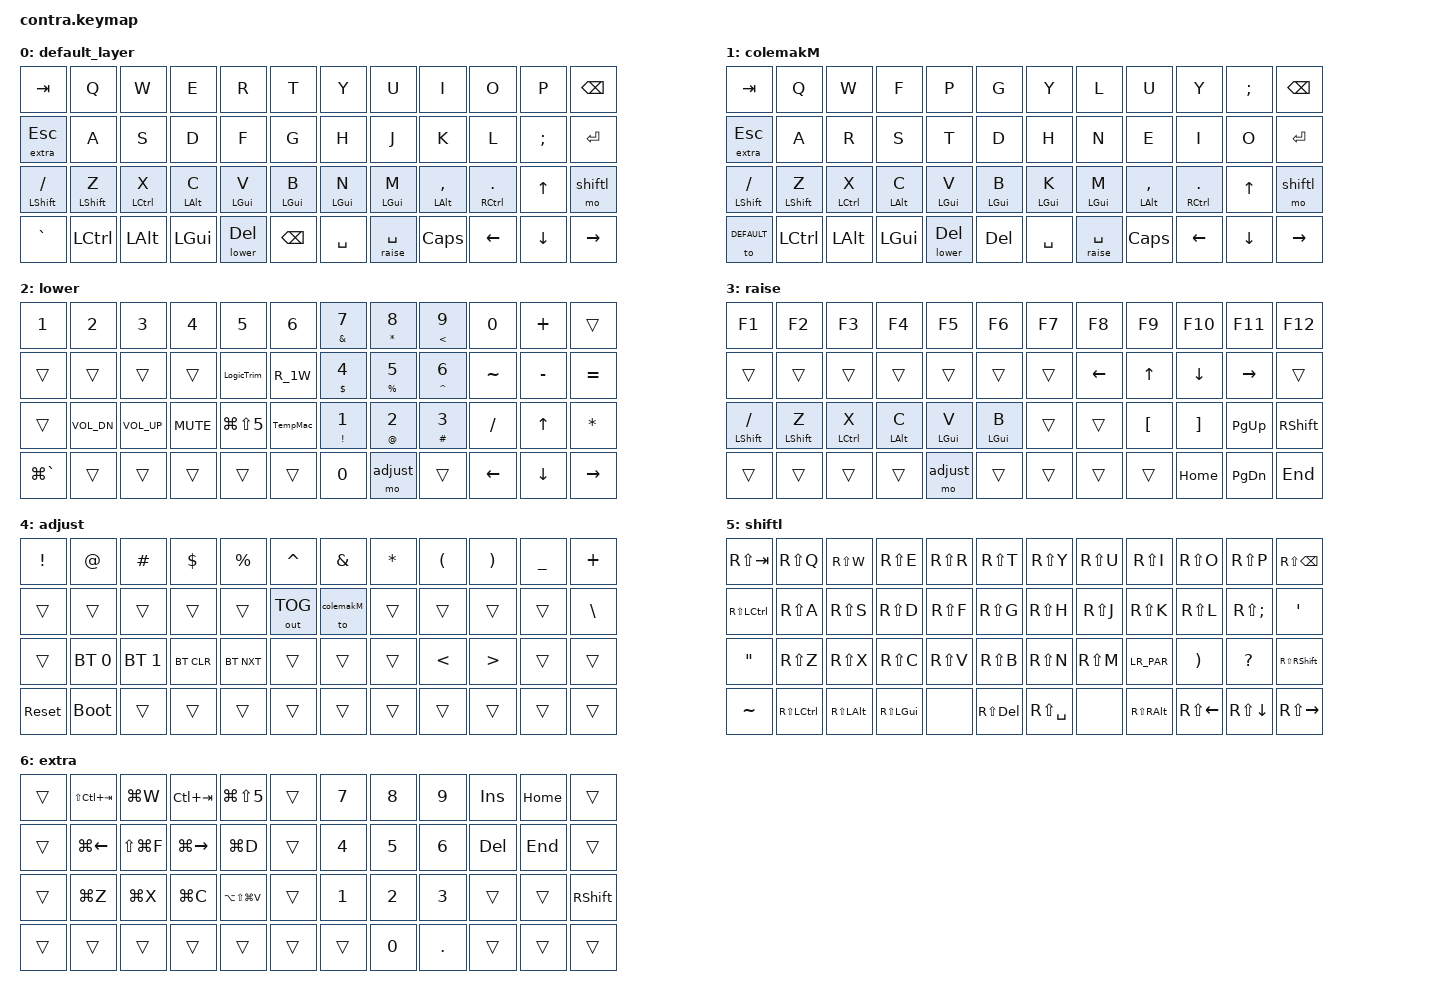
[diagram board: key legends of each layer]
/*
 * Copyright (c) 2020 The ZMK Contributors
 *
 * SPDX-License-Identifier: MIT
 */
//west build -p -b nice_nano -- -DSHIELD=contra
//west build -p -b nice_nano -- -DSHIELD=contra -DZMK_CONFIG="/workspaces/zmk/build"

#include <behaviors.dtsi>
#include <dt-bindings/zmk/keys.h>
#include <dt-bindings/zmk/bt.h>
#include <dt-bindings/zmk/outputs.h>

/ {
    macros {
        R_1W: R_1W {
            label = "R_1W";
            compatible = "zmk,behavior-macro";
            #binding-cells = <0>;
            wait-ms = <40>;
            tap-ms = <40>;
            bindings
                = <&macro_press &kp LSHFT>
                , <&macro_tap &kp S>
                , <&macro_release &kp LSHFT>
                , <&macro_tap &kp H &kp A &kp W &kp U &kp A &kp J &kp Y &kp D &kp S &kp N>
                ;
        };
		TempMac: TempMac {
            label = "TempMac";
            compatible = "zmk,behavior-macro";
            #binding-cells = <0>;
            wait-ms = <30>;
            tap-ms = <30>;
            bindings
                = <&macro_tap  &kp TAB &kp TAB &kp TAB &kp TAB &kp TAB &kp TAB &kp TAB &kp TAB &kp SPACE>
				, <&macro_press &kp LSHFT>
                , <&macro_tap &kp TAB &kp TAB &kp TAB &kp TAB &kp TAB &kp TAB &kp TAB &kp TAB &kp TAB &kp TAB &kp TAB &kp TAB>
                , <&macro_release &kp LSHFT>
				, <&macro_tap &kp N2 &kp TAB &kp TAB &kp TAB &kp TAB &kp N2>
                ;
        };
		FiveTabs: FiveTabs {
            label = "FiveTabs";
            compatible = "zmk,behavior-macro";
            #binding-cells = <0>;
            wait-ms = <30>;
            tap-ms = <30>;
            bindings
                = <&macro_tap  &kp TAB &kp TAB &kp TAB &kp TAB &kp TAB>
                ;
        };
		FourTabs: FourTabs {
            label = "FourTabs";
            compatible = "zmk,behavior-macro";
            #binding-cells = <0>;
            wait-ms = <30>;
            tap-ms = <30>;
            bindings
                = <&macro_tap  &kp TAB &kp TAB &kp TAB &kp TAB>
                ;
		};
        // };
		// TwtyFiftn: TwtyFiftn {
        //     label = "TwtyFiftn";
        //     compatible = "zmk,behavior-macro";
        //     #binding-cells = <0>;
        //     wait-ms = <30>;
        //     tap-ms = <30>;
        //     bindings
        //         = <&macro_tap &kp S>
		// 		, <&macro_press &kp LSHFT>
        //         , <&macro_tap &kp TAB &kp TAB &kp TAB &kp TAB &kp TAB &kp TAB &kp TAB>
		// 		, <&macro_release &kp LSHFT>
		// 		, <&macro_tap &kp N2 &kp N0>
		// 		, <&macro_tap &kp TAB &kp TAB &kp TAB &kp TAB>
		// 		, <&macro_tap &kp N1 &kp N5>
		// 		, <&macro_tap &kp TAB &kp SPACE>
        //         ;
        // };
		
		TwoTwoOne: TwoTwoOne {
            label = "TwoTwoOne";
            compatible = "zmk,behavior-macro";
            #binding-cells = <0>;
            wait-ms = <30>;
            tap-ms = <30>;
            bindings
                // = <&macro_press &kp LSHFT>
                // , <&macro_tap &kp TAB &kp TAB &kp TAB &kp TAB &kp TAB &kp TAB &kp TAB &kp TAB &kp TAB &kp TAB &kp TAB>
				// , <&macro_release &kp LSHFT>
				= <&macro_tap &kp N2>
				, <&macro_tap &kp TAB &kp TAB &kp TAB &kp TAB>
				, <&macro_tap &kp N2>
				, <&macro_tap &kp TAB &kp TAB &kp TAB &kp TAB>
				, <&macro_tap &kp N1>
				, <&macro_tap &kp TAB &kp SPACE>
				// , <&macro_wait_time 700>
				// , <&macro_tap &kp Y>
				// , <&macro_tap &kp R>
                ;
        };
		TwoTwoZero: TwoTwoZero {
            label = "TwoTwoZero";
            compatible = "zmk,behavior-macro";
            #binding-cells = <0>;
            wait-ms = <30>;
            tap-ms = <30>;
            bindings
                // = <&macro_tap &kp S>
				// , <&macro_press &kp LSHFT>
                // , <&macro_tap &kp TAB &kp TAB &kp TAB &kp TAB &kp TAB &kp TAB &kp TAB &kp TAB &kp TAB &kp TAB &kp TAB>
				// , <&macro_release &kp LSHFT>
				= <&macro_tap &kp N2>
				, <&macro_tap &kp TAB &kp TAB &kp TAB &kp TAB>
				, <&macro_tap &kp N2>
				, <&macro_tap &kp TAB &kp TAB &kp TAB &kp TAB>
				, <&macro_tap &kp N0>
				, <&macro_tap &kp TAB &kp SPACE>
				// , <&macro_wait_time 700>
				// , <&macro_tap &kp Y>
				// , <&macro_tap &kp R> 
                ;
        };
		LogicTrim: LogicTrim {
            label = "LogicTrim";
            compatible = "zmk,behavior-macro";
            #binding-cells = <0>;
            wait-ms = <30>;
            tap-ms = <30>;
            bindings
                = <&macro_press &kp LGUI>
                , <&macro_tap &kp F>
                , <&macro_release &kp LGUI>
				// , <&macro_wait_time 500>
				, <&macro_tap &kp LEFT &kp DEL>
                ;
        };
        LR_PAR: LR_PAR {
            label = "LR_PAR";
            compatible = "zmk,behavior-macro";
            #binding-cells = <0>;
            wait-ms = <40>;
            tap-ms = <40>;
            bindings
                = <&macro_press &kp LSHFT>
                , <&macro_tap &kp N9 &kp N0>
                , <&macro_release &kp LSHFT>
                , <&macro_tap &kp LEFT>
                ;
        };
    };
};


/ {
    behaviors {
        tns: tap_number_symbols {
            compatible = "zmk,behavior-hold-tap";
            label = "NUM_SYMBOLS";
            #binding-cells = <2>;
            tapping-term-ms = <250>;    // <---[[moderate duration]]
            quick-tap-ms = <0>;
            flavor = "tap-preferred";
            bindings = <&kp>, <&kp>;
        };
    };
};	

//for grading assignment with 2-2-1 grading rubric
// / {
//     macros {
//         TempMac: TempMac {
//             label = "TempMac";
//             compatible = "zmk,behavior-macro";
//             #binding-cells = <0>;
//             wait-ms = <20>;
//             tap-ms = <20>;
//             bindings
//                 = <&macro_tap  &kp TAB &kp TAB &kp TAB &kp TAB &kp TAB &kp TAB &kp TAB &kp TAB &kp SPACE>
// 				, <&macro_press &kp LSHFT>
//                 , <&macro_tap &kp TAB &kp TAB &kp TAB &kp TAB &kp TAB &kp TAB &kp TAB &kp TAB &kp TAB &kp TAB &kp TAB &kp TAB>
//                 , <&macro_release &kp LSHFT>
// 				, <&macro_tap &kp N2 &kp TAB &kp TAB &kp TAB &kp TAB &kp N2 &kp TAB &kp TAB &kp TAB &kp TAB &kp N1 &kp TAB &kp SPACE>
//                 ;
//         };
//     };
// };

//tapping time
&mt {
    tapping-term-ms = <250>;
};

//define layers
#define DEFAULT 0
#define colemakM 1
#define lower   2
#define raise   3
#define adjust 4
#define shiftl 5
#define extra   6

//cd app
//west build -p -b nice_nano -- -DSHIELD=contra

/ {
    behaviors {
        bhm: balanced_homerow_mods {
            compatible = "zmk,behavior-hold-tap";
            label = "HOMEROW_MODS";
            #binding-cells = <2>;
            tapping-term-ms = <300>;    // <---[[moderate duration]]
            quick-tap-ms = <0>;
            flavor = "balanced";
            bindings = <&kp>, <&kp>;
        };
    };
	
	
	keymap {
		compatible = "zmk,keymap";

		default_layer {
				// -----------------------------------------------------------------------------------------
				// |  TAB  |  Q   |  W   |  E   |  R   |  T   |   Y   |  U    |  I   |  O   |   P   | BSPC  |
				// |  ESC  |  A   |  S   |  D   |  F   |  G   |   H   |  J    |  K   |  L   |   ;   |  '    |
				// | SHIFT |  Z   |  X   |  C   |  V   |  B   |   N   |  M    |  ,   |  .   |   /   |  RET  |
				// | FN    | LGUI | LALT | LCTL | LOWR |     SPACE    |  RAIS | LARW | DARW | UARW  |  RARW |
			bindings = <
				&kp TAB        &kp Q    &kp W    &kp E     &kp R     &kp T     &kp Y     &kp U      &kp I     &kp O    &kp P    &kp BSPC
				&lt extra ESC  &kp A   &kp S &kp D &kp F      &kp G     &kp H     &kp J      &kp K     &kp L    &kp SEMI &kp RET
				&mt LSHFT FSLH &bhm LSHFT Z  &bhm LCTL X    &bhm LALT C     &bhm LGUI V     &bhm LGUI B     &bhm LGUI N     &bhm LGUI M      &bhm LALT COMMA &bhm RCTL DOT  &kp UP   &mo shiftl
				&kp GRAVE   &kp LCTL &kp LALT &kp LGUI  &lt lower DEL &kp BSPC   &kp SPACE &lt raise SPACE  &kp CAPS  &kp LEFT &kp DOWN &kp RIGHT
			>;

			// sensor-bindings = <&inc_dec_kp PG_UP PG_DN>;
		};
		colemakM {
		 	bindings = <
		 		&kp TAB        &kp Q    &kp W    &kp F     &kp P    &kp G     &kp Y     &kp L      &kp U     &kp Y     &kp SEMI    &kp BSPC
		 		&lt extra ESC  &kp A    &kp R    &kp S     &kp T     &kp D     &kp H     &kp N      &kp E     &kp I    &kp O &kp RET
				&mt LSHFT FSLH &bhm LSHFT Z  &bhm LCTL X    &bhm LALT C     &bhm LGUI V     &bhm LGUI B     &bhm LGUI K     &bhm LGUI M      &bhm LALT COMMA &bhm RCTL DOT  &kp UP   &mo shiftl
				&to DEFAULT    &kp LCTL &kp LALT &kp LGUI  &lt lower DEL &kp DEL   &kp SPACE &lt raise SPACE  &kp CAPS  &kp LEFT &kp DOWN &kp RIGHT
		 	>;
		 };

		lower {
			bindings = <
				&kp N1 &kp N2       &kp N3       &kp N4     &kp N5         &kp N6   &tns AMPS N7 &tns ASTRK N8 &tns LT N9    &kp N0    &kp PLUS  &trans 
				&trans &trans       &trans       &trans     &LogicTrim     &R_1W    &tns DLLR N4 &tns PRCNT N5 &tns CARET N6 &kp TILDE &kp MINUS &kp EQUAL
                &trans &kp C_VOL_DN &kp C_VOL_UP &kp K_MUTE &kp LG(LS(N5)) &TempMac &tns EXCL N1 &tns AT N2    &tns POUND N3 &kp FSLH  &kp UP    &kp ASTRK
                &kp LG(GRAVE) &trans  &trans     &trans     &trans         &trans   &kp N0 &mo adjust &trans  &kp LEFT      &kp DOWN         &kp RIGHT
			>;

			// sensor-bindings = <&inc_dec_kp C_VOL_UP C_VOL_DN>;
		};

		raise {
			bindings = <
				&kp F1 &kp F2       &kp F3       &kp F4     &kp F5     &kp F6 &kp F7 &kp F8   &kp F9   &kp F10   &kp F11   &kp F12
				&trans &trans       &trans       &trans     &trans     &trans &trans &kp LEFT &kp UP   &kp DOWN  &kp RIGHT &trans
                &mt LSHFT FSLH &bhm LSHFT Z  &bhm LCTL X    &bhm LALT C     &bhm LGUI V     &bhm LGUI B &trans &trans   &kp LBKT   &kp RBKT    &kp PG_UP &kp RSHFT
                &trans &trans       &trans       &trans     &mo adjust &trans &trans &trans   &trans   &kp HOME  &kp PG_DN &kp END
			>;
		};
		
		adjust {
			bindings = <
				&kp EXCL &kp AT       &kp POUND    &kp DLLR   &kp PRCNT  &kp CARET    &kp AMPS &kp ASTRK &kp LPAR &kp RPAR &kp UNDER &kp PLUS 
				&trans   &trans       &trans       &trans     &trans     &out OUT_TOG &to colemakM   &trans    &trans   &trans   &trans    &kp BSLH
				&trans   &bt BT_SEL 0 &bt BT_SEL 1 &bt BT_CLR &bt BT_NXT &trans       &trans   &trans    &kp LT &kp GT &trans    &trans
				&sys_reset   &bootloader  &trans       &trans     &trans     &trans       &trans   &trans    &trans   &trans   &trans    &trans
			>;
		};
		
		shiftl {
			bindings = <
				&kp RS(TAB)   &kp RS(Q)    &kp RS(W)    &kp RS(E)    &kp RS(R) &kp RS(T)   &kp RS(Y)     &kp RS(U)  &kp RS(I)    &kp RS(O)    &kp RS(P)    &kp RS(BSPC)
				&kp RS(LCTL)  &kp RS(A)    &kp RS(S)    &kp RS(D)    &kp RS(F) &kp RS(G)   &kp RS(H)     &kp RS(J)  &kp RS(K)    &kp RS(L)    &kp RS(SEMI) &kp SQT
				&kp DQT       &kp RS(Z)    &kp RS(X)    &kp RS(C)    &kp RS(V) &kp RS(B)   &kp RS(N)     &kp RS(M)  &LR_PAR      &kp RPAR     &kp QMARK    &kp RS(RSHFT)
				&kp TILDE     &kp RS(LCTL) &kp RS(LALT) &kp RS(LGUI) &none     &kp RS(DEL) &kp RS(SPACE) &none      &kp RS(RALT) &kp RS(LEFT) &kp RS(DOWN) &kp RS(RIGHT)
			>;
		};
		
		extra {
			bindings = <
				&trans &kp LS(LC(TAB)) &kp LG(W)     &kp LC(TAB)   &kp LG(LS(N5))    &trans &kp N7 &kp N8 &kp N9  &kp INS &kp HOME &trans
				&trans &kp LG(LEFT)    &kp LS(LG(F)) &kp LG(RIGHT) &kp LG(D)         &trans &kp N4 &kp N5 &kp N6  &kp DEL &kp END  &trans
                &trans &kp LG(Z)       &kp LG(X)     &kp LG(C)     &kp LA(LS(LG(V))) &trans &kp N1 &kp N2 &kp N3  &trans  &trans   &kp RSHFT
                &trans &trans          &trans        &trans        &trans            &trans &trans &kp N0 &kp DOT &trans  &trans   &trans
			>;
		};
	};
};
